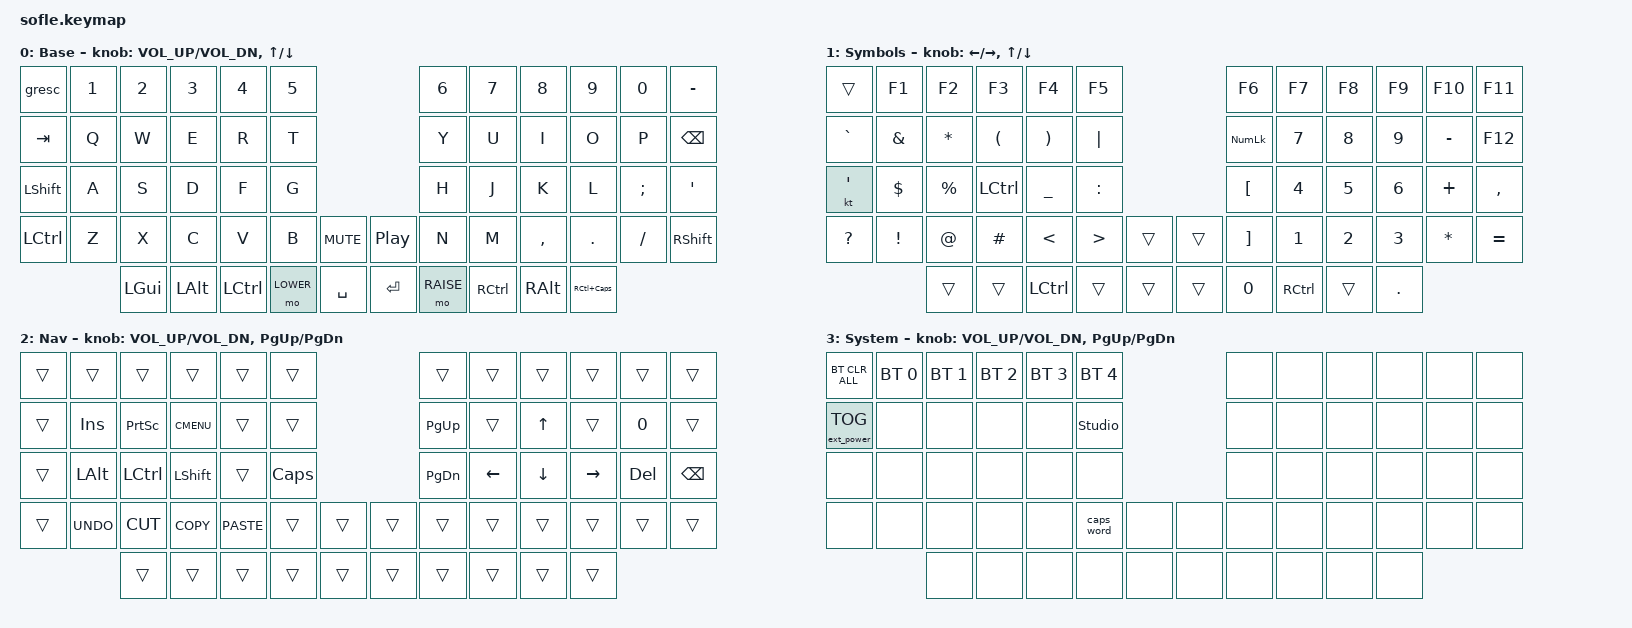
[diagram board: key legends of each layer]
/*
 * Copyright (c) 2020 The ZMK Contributors
 *
 * SPDX-License-Identifier: MIT
 */

#include <behaviors.dtsi>
#include <dt-bindings/zmk/bt.h>
#include <dt-bindings/zmk/ext_power.h>
#include <dt-bindings/zmk/keys.h>

// Encoders

&sensors { triggers-per-rotation = <30>; };

&left_encoder { steps = <60>; };

&right_encoder { steps = <60>; };

#define BASE 0
#define LOWER 1
#define RAISE 2
#define ADJUST 3

/ {
    // Activate ADJUST layer by pressing raise and lower

    conditional_layers {
        compatible = "zmk,conditional-layers";

        adjust_layer {
            if-layers = <LOWER RAISE>;
            then-layer = <ADJUST>;
        };
    };

    combos {
        compatible = "zmk,combos";

        backspace {
            bindings = <&kp BACKSPACE>;
            key-positions = <32 31>;
        };

        delete {
            bindings = <&kp DELETE>;
            key-positions = <27 33>;
        };

        esc {
            bindings = <&kp ESCAPE>;
            key-positions = <25 41>;
        };
    };

    behaviors {
        caps: caps {
            compatible = "zmk,behavior-caps-word";
            label = "CAPS";
            #binding-cells = <0>;
            continue-list = <POUND MINUS BACKSPACE UNDERSCORE>;
        };
    };

    keymap {
        compatible = "zmk,keymap";

        default_layer {
            display-name = "Base";

            // ------------------------------------------------------------------------------------------------------------
            // |   `   |  1  |  2  |  3   |  4   |  5   |                   |  6   |  7    |  8    |  9   |   0   |       |
            // |  ESC  |  Q  |  W  |  E   |  R   |  T   |                   |  Y   |  U    |  I    |  O   |   P   | BKSPC |
            // |  TAB  |  A  |  S  |  D   |  F   |  G   |                   |  H   |  J    |  K    |  L   |   ;   |   '   |
            // | SHIFT |  Z  |  X  |  C   |  V   |  B   |  MUTE  |  |       |  N   |  M    |  ,    |  .   |   /   | SHIFT |
            //               | GUI | ALT  | CTRL | LOWER|  ENTER |  | SPACE | RAISE| CTRL  | ALT   | GUI  |

            bindings = <
&gresc            &kp N1  &kp N2    &kp N3    &kp N4     &kp N5                                     &kp N6     &kp N7     &kp N8         &kp N9        &kp N0    &kp MINUS
&kp TAB           &kp Q   &kp W     &kp E     &kp R      &kp T                                      &kp Y      &kp U      &kp I          &kp O         &kp P     &kp BSPC
&kp LEFT_SHIFT    &kp A   &kp S     &kp D     &kp F      &kp G                                      &kp H      &kp J      &kp K          &kp L         &kp SEMI  &kp SQT
&kp LEFT_CONTROL  &kp Z   &kp X     &kp C     &kp V      &kp B      &kp C_MUTE    &kp C_PLAY_PAUSE  &kp N      &kp M      &kp COMMA      &kp DOT       &kp FSLH  &kp RSHFT
                          &kp LGUI  &kp LALT  &kp LCTRL  &mo LOWER  &kp SPACE     &kp ENTER         &mo RAISE  &kp RCTRL  &kp RIGHT_ALT  &kp RC(CAPS)
            >;

            sensor-bindings = <&inc_dec_kp C_VOL_UP C_VOL_DN &inc_dec_kp UP DOWN>;
        };

        lower_layer {
            display-name = "Symbols";

            // TODO: Some binds are waiting for shifted keycode support.
            // ------------------------------------------------------------------------------------------------------------
            // |       |  F1 |  F2 |  F3  |  F4  |  F5  |                   |  F6  |  F7   |  F8   |  F9  |  F10  |  F11  |
            // |   `   |  1  |  2  |  3   |  4   |  5   |                   |  6   |  7    |  8    |  9   |   0   |  F12  |
            // |       |  !  |  @  |  #   |  $   |  %   |                   |  ^   |  &    |  *    |  (   |   )   |   |   |
            // |       |  =  |  -  |  +   |  {   |  }   |        |  |       |  [   |  ]    |  ;    |  :   |   \   |       |
            //               |     |      |      |      |        |  |       |      |       |       |      |

            bindings = <
&trans          &kp F1           &kp F2        &kp F3                &kp F4                 &kp F5                              &kp F6          &kp F7        &kp F8        &kp F9        &kp F10       &kp F11
&kp GRAVE       &kp AMPERSAND    &kp ASTERISK  &kp LEFT_PARENTHESIS  &kp RIGHT_PARENTHESIS  &kp PIPE                            &kp KP_NUMLOCK  &kp NUMBER_7  &kp NUMBER_8  &kp NUMBER_9  &kp MINUS     &kp F12
&kt APOSTROPHE  &kp DOLLAR       &kp PERCENT   &kp LCTRL             &kp UNDERSCORE         &kp COLON                           &kp LBKT        &kp NUMBER_4  &kp NUMBER_5  &kp NUMBER_6  &kp PLUS      &kp COMMA
&kp QUESTION    &kp EXCLAMATION  &kp AT_SIGN   &kp HASH              &kp LESS_THAN          &kp GREATER_THAN  &trans    &trans  &kp RBKT        &kp NUMBER_1  &kp NUMBER_2  &kp NUMBER_3  &kp ASTERISK  &kp EQUAL
                                 &trans        &trans                &kp LCTRL              &trans            &trans    &trans  &kp NUMBER_0    &kp RCTRL     &trans        &kp PERIOD
            >;

            sensor-bindings =
                <&inc_dec_kp LEFT_ARROW RIGHT_ARROW>,
                <&inc_dec_kp UP_ARROW DOWN_ARROW>;
        };

        raise_layer {
            display-name = "Nav";

            // ------------------------------------------------------------------------------------------------------------
            // | BTCLR | BT1  | BT2  |  BT3  |  BT4  |  BT5 |                |      |      |       |      |       |       |
            // |       | INS  | PSCR | GUI   |       |      |                | PGUP |      |   ^   |      |       |       |
            // |       | ALT  | CTRL | SHIFT |       | CAPS |                | PGDN |   <- |   v   |  ->  |  DEL  | BKSPC |
            // |       | UNDO | CUT  | COPY  | PASTE |      |      |  |      |      |      |       |      |       |       |
            //                |      |       |       |      |      |  |      |      |      |       |      |

            bindings = <
&trans  &trans      &trans     &trans       &trans       &trans                      &trans     &trans    &trans    &trans     &trans   &trans
&trans  &kp INS     &kp PSCRN  &kp K_CMENU  &trans       &trans                      &kp PG_UP  &trans    &kp UP    &trans     &kp N0   &trans
&trans  &kp LALT    &kp LCTRL  &kp LSHFT    &trans       &kp CLCK                    &kp PG_DN  &kp LEFT  &kp DOWN  &kp RIGHT  &kp DEL  &kp BSPC
&trans  &kp K_UNDO  &kp K_CUT  &kp K_COPY   &kp K_PASTE  &trans    &trans    &trans  &trans     &trans    &trans    &trans     &trans   &trans
                    &trans     &trans       &trans       &trans    &trans    &trans  &trans     &trans    &trans    &trans
            >;

            sensor-bindings = <&inc_dec_kp C_VOL_UP C_VOL_DN &inc_dec_kp PG_UP PG_DN>;
        };

        adjust_layer {
            // ----------------------------------------------------------------------------------------------------------------------------
            // | BTCLR  |  BT1    |  BT2    |   BT3   |   BT4   |   BT5   |                  |      |      |       |      |       |       |
            // | EXTPWR | RGB_HUD | RGB_HUI | RGB_SAD | RGB_SAI | RGB_EFF |                  |      |      |       |      |       |       |
            // |        | RGB_BRD | RGB_BRI |         |         |         |                  |      |      |       |      |       |       |
            // |        |         |         |         |         |         | RGB_TOG | |      |      |      |       |      |       |       |
            //                    |         |         |         |         |         | |      |      |      |       |      |

            display-name = "System";
            bindings = <
&bt BT_CLR_ALL     &bt BT_SEL 0  &bt BT_SEL 1  &bt BT_SEL 2  &bt BT_SEL 3  &bt BT_SEL 4                    &none  &none  &none  &none  &none  &none
&ext_power EP_TOG  &none         &none         &none         &none         &studio_unlock                  &none  &none  &none  &none  &none  &none
&none              &none         &none         &none         &none         &none                           &none  &none  &none  &none  &none  &none
&none              &none         &none         &none         &none         &caps_word      &none    &none  &none  &none  &none  &none  &none  &none
                                 &none         &none         &none         &none           &none    &none  &none  &none  &none  &none
            >;

            sensor-bindings = <&inc_dec_kp C_VOL_UP C_VOL_DN &inc_dec_kp PG_UP PG_DN>;
        };
    };
};
